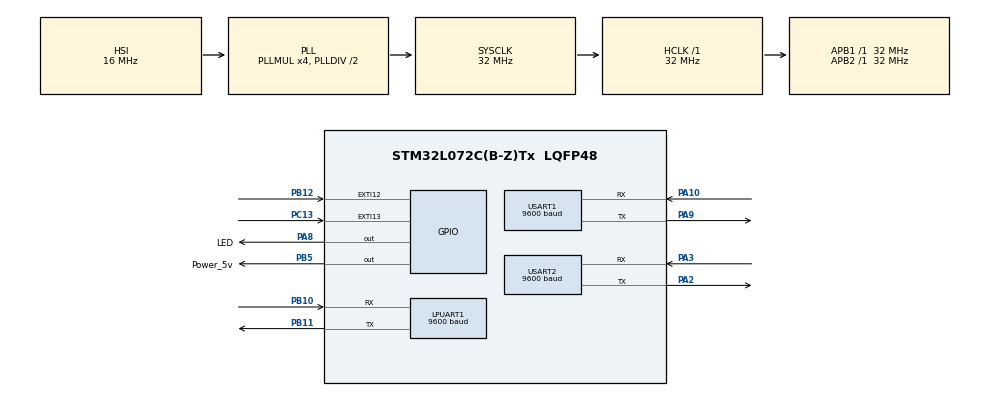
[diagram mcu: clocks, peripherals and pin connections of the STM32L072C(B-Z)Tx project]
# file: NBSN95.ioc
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ADC.ClockPrescaler=ADC_CLOCK_SYNC_PCLK_DIV4
Dma.LPUART1_TX.0.Direction=DMA_MEMORY_TO_PERIPH
Dma.LPUART1_TX.0.Instance=DMA1_Channel2
Dma.LPUART1_TX.0.MemDataAlignment=DMA_MDATAALIGN_BYTE
Dma.LPUART1_TX.0.MemInc=DMA_MINC_ENABLE
Dma.LPUART1_TX.0.Mode=DMA_NORMAL
Dma.LPUART1_TX.0.PeriphDataAlignment=DMA_PDATAALIGN_BYTE
Dma.LPUART1_TX.0.PeriphInc=DMA_PINC_DISABLE
Dma.LPUART1_TX.0.Priority=DMA_PRIORITY_VERY_HIGH
Dma.Request0=LPUART1_TX
IWDG.Prescaler=IWDG_PRESCALER_256
LPUART1.BaudRate=9600
LPUART1.DMADisableonRxErrorParam=UART_ADVFEATURE_DMA_DISABLEONRXERROR
LPUART1.OverrunDisableParam=UART_ADVFEATURE_OVERRUN_DISABLE
LPUART1.WordLength=UART_WORDLENGTH_8B
Mcu.Family=STM32L0
Mcu.Name=STM32L072C(B-Z)Tx
Mcu.Package=LQFP48
NVIC.DMA1_Channel2_3_IRQn=true\:0\:0\:false\:false\:true\:false\:true
NVIC.EXTI4_15_IRQn=true\:2\:0\:true\:false\:true\:true\:true
NVIC.RNG_LPUART1_IRQn=true\:1\:0\:true\:false\:true\:true\:true
NVIC.RTC_IRQn=true\:0\:0\:false\:false\:true\:true\:true
NVIC.USART1_IRQn=true\:1\:0\:true\:false\:true\:true\:true
NVIC.USART2_IRQn=true\:1\:0\:true\:false\:true\:true\:true
PA10.Mode=Asynchronous
PA10.Signal=USART1_RX
PA13.Mode=Serial_Wire
PA13.Signal=SYS_SWDIO
PA14.Mode=Serial_Wire
PA14.Signal=SYS_SWCLK
PA2.Mode=Asynchronous
PA2.Signal=USART2_TX
PA3.Mode=Asynchronous
PA3.Signal=USART2_RX
PA8.GPIO_Label=LED
PA8.GPIO_Speed=GPIO_SPEED_FREQ_VERY_HIGH
PA8.Signal=GPIO_Output
PA9.Mode=Asynchronous
PA9.Signal=USART1_TX
PB10.GPIO_PuPd=GPIO_PULLUP
PB10.Mode=Asynchronous
PB10.Signal=LPUART1_RX
PB11.GPIO_PuPd=GPIO_PULLUP
PB11.Mode=Asynchronous
PB11.Signal=LPUART1_TX
PB12.Signal=GPXTI12
PB5.GPIO_Label=Power_5v
PB5.GPIO_Speed=GPIO_SPEED_FREQ_VERY_HIGH
PB5.PinState=GPIO_PIN_RESET
PB5.Signal=GPIO_Output
PC13.GPIO_ModeDefaultEXTI=GPIO_MODE_IT_FALLING
PC13.Signal=GPXTI13
PC14-OSC32_IN.Mode=LSE-External-Oscillator
PC14-OSC32_IN.Signal=RCC_OSC32_IN
PC15-OSC32_OUT.Mode=LSE-External-Oscillator
PC15-OSC32_OUT.Signal=RCC_OSC32_OUT
ProjectManager.HeapSize=0x200
ProjectManager.StackSize=0x400
ProjectManager.TargetToolchain=MDK-ARM V5.32
RCC.AHBFreq_Value=32000000
RCC.APB1Freq_Value=32000000
RCC.APB1TimFreq_Value=32000000
RCC.APB2Freq_Value=32000000
RCC.APB2TimFreq_Value=32000000
RCC.HCLKFreq_Value=32000000
RCC.HSE_VALUE=8000000
RCC.HSI16_VALUE=16000000
RCC.HSI48_VALUE=48000000
RCC.HSI_VALUE=16000000
RCC.LptimClockSelection=RCC_LPTIM1CLKSOURCE_HSI
RCC.Lpuart1ClockSelection=RCC_LPUART1CLKSOURCE_HSI
RCC.MSI_VALUE=2097000
RCC.PLLMUL=RCC_PLLMUL_4
RCC.RTCClockSelection=RCC_RTCCLKSOURCE_LSE
RCC.RTCClockSelectionVirtual=RCC_RTCCLKSOURCE_LSE
RCC.SYSCLKFreq_VALUE=32000000
RCC.SYSCLKSource=RCC_SYSCLKSOURCE_PLLCLK
RCC.Usart1ClockSelection=RCC_USART1CLKSOURCE_HSI
RCC.Usart2ClockSelection=RCC_USART2CLKSOURCE_HSI
RCC.VCOOutputFreq_Value=64000000
RTC.Alarm-Alarm\ A=RTC_ALARM_A
RTC.Alarm_B-Alarm\ B=RTC_ALARM_B
RTC.Seconds_A-Alarm\ A=3
RTC.Seconds_B-Alarm\ B=5
USART1.BaudRate=9600
USART1.VirtualMode-Asynchronous=VM_ASYNC
USART2.BaudRate=9600
USART2.Mode=MODE_TX_RX
USART2.VirtualMode-Asynchronous=VM_ASYNC
VP_ADC_Vref_Input.Mode=IN-Vrefint
VP_IWDG_VS_IWDG.Mode=IWDG_Activate
VP_RTC_VS_RTC_Activate.Mode=RTC_Enabled
VP_RTC_VS_RTC_Alarm_A_Intern.Mode=Alarm A
VP_RTC_VS_RTC_Alarm_B_Intern.Mode=Alarm B
VP_RTC_VS_RTC_Calendar.Mode=RTC_Calendar
board=custom

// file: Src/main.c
/* USER CODE BEGIN Header */
/**
  ******************************************************************************
  * @file           : main.c
  * @brief          : Main program body
  ******************************************************************************
  * @attention
  *
  * <h2><center>&copy; Copyright (c) 2020 STMicroelectronics.
  * All rights reserved.</center></h2>
  *
  * This software component is licensed by ST under BSD 3-Clause license,
  * the "License"; You may not use this file except in compliance with the
  * License. You may obtain a copy of the License at:
  *                        opensource.org/licenses/BSD-3-Clause
  *
  ******************************************************************************
  */
/* USER CODE END Header */
#include "main.h"
#include "adc.h"
#include "dma.h"
#include "iwdg.h"
#include "usart.h"
#include "rtc.h"
#include "gpio.h"

/* USER CODE BEGIN Includes */
#include "at.h"
#include "lowpower.h"
#include "nbInit.h"
/* USER CODE END Includes */

/* USER CODE BEGIN PTD */

/* debug macro definition ----------------------------------------------------*/
//#define ST_DEBUG

/* NBIOT task macro definition, the task in NBTASK will not be executed after commenting out -*/
#define NBIOT

#ifndef ST_DEBUG
	#define lowpower_enter
#endif
/* USER CODE END PTD */

/* USER CODE BEGIN PV */
static uint8_t  rxbuf = 0;
static uint16_t rxlen = 0;
static uint8_t  rxDATA[300]={0};
static uint8_t  uart2_recieve_flag = 0;

static uint8_t rxbuf_lp = 0;
static uint8_t lpuart_recieve_flag = 0;

uint8_t rxbuf_u1 = 0; 	//usart1
uint8_t rxDATA_u1[100]={0};
uint8_t rxlen_u1 = 0;

static uint8_t pwd_time_count = 0;			//Password time count times

static uint8_t task_num = _AT_IDLE;			//NB task directory

static uint8_t error_num = 0;				    //Error count

/* USER CODE END PV */

void SystemClock_Config(void);
/* USER CODE BEGIN PFP */
static void USERTASK(void);
/* USER CODE END PFP */

int main(void)
{

  /* MCU Configuration--------------------------------------------------------*/

  /* Reset of all peripherals, Initializes the Flash interface and the Systick. */
  HAL_Init();

  /* Configure the system clock */
  SystemClock_Config();

  /* Initialize all configured peripherals */
  MX_GPIO_Init();
	MX_DMA_Init();
  MX_USART2_UART_Init();
  MX_LPUART1_UART_Init();
  MX_IWDG_Init();
  MX_RTC_Init();
  MX_ADC_Init();
  MX_USART1_UART_Init();
  /* USER CODE BEGIN 2 */
	new_firmware_update();
	config_Get();
	reboot_information_print();
	product_information_print();
	sensor_connect_detection();
	led_on(1000);
	HAL_Delay(3000);
	HAL_UART_Receive_IT(&huart2,(uint8_t*)&rxbuf,RXSIZE);
	HAL_UART_Receive_IT(&hlpuart1,(uint8_t*)&rxbuf_lp,RXSIZE);
	My_UARTEx_StopModeWakeUp(&huart2);				//Enable serial port wake up
	My_UARTEx_StopModeWakeUp(&hlpuart1);			//Enable serial port wake up
  /* USER CODE END 2 */

  /* Infinite loop */
  /* USER CODE BEGIN WHILE */
#ifdef NBIOT
	if((*(__IO uint8_t *)EEPROM_USER_START_FDR_FLAG) == 0x01)
	{
		task_num = _AT_IDLE;
		HAL_FLASHEx_DATAEEPROM_Unlock();
		HAL_FLASHEx_DATAEEPROM_Program(FLASH_TYPEPROGRAMDATA_WORD,EEPROM_USER_START_FDR_FLAG,0x00);
		HAL_FLASHEx_DATAEEPROM_Lock();
	}
	else
		task_num = _AT_FLAG_INIT;
#else
	task_num = _AT_IDLE;
#endif
  while (1)
  {
    /* USER CODE END WHILE */

    /* USER CODE BEGIN 3 */

#ifdef NBIOT

		if(task_num != _AT_IDLE)
		{
			HAL_Delay(1000);

			if(NBTASK(&task_num) == _AT_ERROR)
			{
				error_num++;
			}
	  }
		if((error_num > 3 && nb.uplink_flag == no_status)||(error_num > 10))
		{
			user_main_printf("Restart the module...");
			task_num = _AT_NRB;
			error_num = 0;
		}

		if(nb.recieve_flag == NB_RECIEVE && nb.uplink_flag == send)
		{
			task_num = _AT_URI;
			nb.recieve_flag = NB_IDIE;
		}
#endif

		USERTASK();

#ifdef lowpower_enter
		if(task_num == _AT_IDLE && uart2_recieve_flag==0)
		{
			LPM_EnterStopMode(SystemClock_Config);
		}
#endif
  }
  /* USER CODE END 3 */
}

void SystemClock_Config(void)
{
  RCC_OscInitTypeDef RCC_OscInitStruct = {0};
  RCC_ClkInitTypeDef RCC_ClkInitStruct = {0};
  RCC_PeriphCLKInitTypeDef PeriphClkInit = {0};

  /** Configure the main internal regulator output voltage
  */
  __HAL_PWR_VOLTAGESCALING_CONFIG(PWR_REGULATOR_VOLTAGE_SCALE1);
  /** Configure LSE Drive Capability
  */
  HAL_PWR_EnableBkUpAccess();
  __HAL_RCC_LSEDRIVE_CONFIG(RCC_LSEDRIVE_LOW);
  /** Initializes the RCC Oscillators according to the specified parameters
  * in the RCC_OscInitTypeDef structure.
  */
  RCC_OscInitStruct.OscillatorType = RCC_OSCILLATORTYPE_HSI|RCC_OSCILLATORTYPE_LSI
                              |RCC_OSCILLATORTYPE_LSE;
  RCC_OscInitStruct.LSEState = RCC_LSE_ON;
  RCC_OscInitStruct.HSIState = RCC_HSI_ON;
  RCC_OscInitStruct.HSICalibrationValue = RCC_HSICALIBRATION_DEFAULT;
  RCC_OscInitStruct.LSIState = RCC_LSI_ON;
  RCC_OscInitStruct.PLL.PLLState = RCC_PLL_ON;
  RCC_OscInitStruct.PLL.PLLSource = RCC_PLLSOURCE_HSI;
  RCC_OscInitStruct.PLL.PLLMUL = RCC_PLLMUL_4;
  RCC_OscInitStruct.PLL.PLLDIV = RCC_PLLDIV_2;
  if (HAL_RCC_OscConfig(&RCC_OscInitStruct) != HAL_OK)
  {
    Error_Handler();
  }
  /** Initializes the CPU, AHB and APB buses clocks
  */
  RCC_ClkInitStruct.ClockType = RCC_CLOCKTYPE_HCLK|RCC_CLOCKTYPE_SYSCLK
                              |RCC_CLOCKTYPE_PCLK1|RCC_CLOCKTYPE_PCLK2;
  RCC_ClkInitStruct.SYSCLKSource = RCC_SYSCLKSOURCE_PLLCLK;
  RCC_ClkInitStruct.AHBCLKDivider = RCC_SYSCLK_DIV1;
  RCC_ClkInitStruct.APB1CLKDivider = RCC_HCLK_DIV1;
  RCC_ClkInitStruct.APB2CLKDivider = RCC_HCLK_DIV1;

  if (HAL_RCC_ClockConfig(&RCC_ClkInitStruct, FLASH_LATENCY_1) != HAL_OK)
  {
    Error_Handler();
  }
  PeriphClkInit.PeriphClockSelection = RCC_PERIPHCLK_USART1|RCC_PERIPHCLK_USART2
                              |RCC_PERIPHCLK_LPUART1|RCC_PERIPHCLK_RTC;
  PeriphClkInit.Usart1ClockSelection = RCC_USART1CLKSOURCE_HSI;
  PeriphClkInit.Usart2ClockSelection = RCC_USART2CLKSOURCE_HSI;
  PeriphClkInit.Lpuart1ClockSelection = RCC_LPUART1CLKSOURCE_HSI;
  PeriphClkInit.RTCClockSelection = RCC_RTCCLKSOURCE_LSE;
  if (HAL_RCCEx_PeriphCLKConfig(&PeriphClkInit) != HAL_OK)
  {
    Error_Handler();
  }
}

/* USER CODE BEGIN 4 */
static void USERTASK(void)
{
	if(sys.pwd_flag == 0 && uart2_recieve_flag)
	{
		rtrim((char*)rxDATA);
		if(strcmp((char*)rxDATA,(char*)sys.pwd) == 0 && strlen((char*)rxDATA) < 9)
		{
			user_main_printf("Password Correct");
			sys.pwd_flag = 1;
		}
		else
		{
			user_main_printf("Password Incorrect");
		}
	}
	else if(sys.pwd_flag != 0 && uart2_recieve_flag)
	{
		ATEerror_t AT_State = ATInsPro((char*)rxDATA);
		if(AT_State == AT_OK)
			printf("%s\r\n",ATError_description[AT_OK]);
		else if(AT_State == AT_PARAM_ERROR)
			printf("%s",ATError_description[AT_PARAM_ERROR]);
		else if(AT_State == AT_BUSY_ERROR)
			printf("%s",ATError_description[AT_BUSY_ERROR]);
		else if(AT_State == AT_TEST_PARAM_OVERFLOW)
			printf("%s",ATError_description[AT_TEST_PARAM_OVERFLOW]);
		else if(AT_State == AT_RX_ERROR)
			printf("%s",ATError_description[AT_RX_ERROR]);
		else if(AT_State == AT_ERROR)
		{
			nb.usart.len = 0;
			memset(nb.usart.data,0,NB_RX_SIZE);
			rxDATA[strlen((char*)rxDATA)] = '\n';
			HAL_UART_Transmit_DMA(&hlpuart1,(uint8_t*)rxDATA,strlen((char*)rxDATA));
			HAL_Delay(500);					//Waiting to Send
		}
	}

	if(uart2_recieve_flag == 1)
	{
		rxlen = 0;
		uart2_recieve_flag = 0;
		memset(rxDATA,0,sizeof(rxDATA));
	}
	if(lpuart_recieve_flag == 1)
	{
		printf("%s",nb.usart.data);
		nb.usart.len = 0;
		lpuart_recieve_flag = 0;
		memset(nb.usart.data,0,NB_RX_SIZE);
	}
}

void HAL_UART_RxCpltCallback(UART_HandleTypeDef *huart)
{
	if(huart == &hlpuart1)
	{
		nb.usart.data[nb.usart.len++] = rxbuf_lp;
		if(task_num == _AT_IDLE)
		{
			if(rxbuf_lp == '\n')
			{
				lpuart_recieve_flag = 1;
			}
		}
		HAL_UART_Receive_IT(&hlpuart1,(uint8_t*)&rxbuf_lp,RXSIZE);
	}
	else if(huart == &huart2)
	{
		rxDATA[rxlen++] = rxbuf;
		if(rxbuf == '\r' || rxbuf == '\n')
		{
			uart2_recieve_flag = 1;
		}
		HAL_UART_Receive_IT(&huart2,(uint8_t*)&rxbuf,RXSIZE);
	}
	else if(huart == &huart1)
	{
		if(rxlen_u1 < 40)
			rxDATA_u1[rxlen_u1++] = rxbuf_u1;
		HAL_UART_Receive_IT(&huart1,(uint8_t*)&rxbuf_u1,RXSIZE);
	}
}

void HAL_RTC_AlarmAEventCallback(RTC_HandleTypeDef *hrtc)
{
	if(nb.net_flag == no_status)
		task_num = _AT_FLAG_INIT;
	else if(nb.net_flag == success)
		task_num = _AT_CSQ;

	LPM_DisableStopMode();
}

void HAL_RTCEx_AlarmBEventCallback(RTC_HandleTypeDef *hrtc)
{
	HAL_IWDG_Refresh(&hiwdg);

#ifdef NBIOT
	if(sys.pwd_flag==1)
	{
		pwd_time_count++;
		if(pwd_time_count == 17)
		{
			sys.pwd_flag = 0;
			pwd_time_count = 0;
			HAL_UART_Transmit(&huart2,(uint8_t*)"Password timeout\r\n",20,20);
		}
	}
#endif

	if(nb.net_flag == fail)
		task_num = _AT_CSQ;

	My_AlarmInit(18,1);
}

void HAL_GPIO_EXTI_Callback(uint16_t GPIO_Pin)
{
	if(GPIO_Pin == GPIO_PIN_12)
	{
		if(nb.net_flag == success && (task_num < _AT_COAP_CONFIG || task_num > _AT_TCP_CLOSE))
		{
			task_num = _AT_CSQ;
			sys.exit_flag = 1;
			sensor.exit_flag = 1;
			LPM_DisableStopMode();
		}
	}
//	else if(GPIO_Pin == GPIO_PIN_13 && nb.uplink_flag == send && sys.protocol != COAP_PRO)
	else if(GPIO_Pin == GPIO_PIN_13 && nb.uplink_flag == send )
	{
		nb.recieve_flag = NB_RECIEVE;
	}
}

void HAL_UART_ErrorCallback(UART_HandleTypeDef *huart)
{
//	if(huart == (&hlpuart1))
//	{
//		user_main_error("hlpuart1 ERROR");
//		uint32_t isrflags = READ_REG(huart->Instance->ISR);
//		switch(huart->ErrorCode)
//    {
//				case HAL_UART_ERROR_NONE:
//						user_main_error("HAL_UART_ERROR_NONE\r\n");
//						break;
//				case HAL_UART_ERROR_PE:
//						user_main_error("HAL_UART_ERROR_PE\r\n");
//						READ_REG(huart->Instance->RDR);//PE清标志，第二步读DR
//						READ_REG(huart->Instance->TDR);
//						__HAL_UART_CLEAR_FLAG(huart, UART_FLAG_PE);//清标志
//						break;
//				case HAL_UART_ERROR_NE:
//						user_main_error("HAL_UART_ERROR_NE\r\n");
//						READ_REG(huart->Instance->RDR);//NE清标志，第二步读DR
//						READ_REG(huart->Instance->TDR);
//						__HAL_UART_CLEAR_FLAG(huart, UART_FLAG_NE);//清标志
//						break;
//				case HAL_UART_ERROR_FE:
//						user_main_error("HAL_UART_ERROR_FE\r\n");
//						READ_REG(huart->Instance->RDR);//FE清标志，第二步读DR
//						READ_REG(huart->Instance->TDR);
//						__HAL_UART_CLEAR_FLAG(huart, UART_FLAG_FE);//清标志
//						break;
//				case HAL_UART_ERROR_ORE:
//						user_main_error("HAL_UART_ERROR_ORE\r\n");
//						READ_REG(huart->Instance->RDR);//ORE清标志，第二步读DR
//						READ_REG(huart->Instance->TDR);
//						__HAL_UART_CLEAR_FLAG(huart, UART_FLAG_ORE);//清标志
//						break;
//				case HAL_UART_ERROR_DMA:
//						user_main_error("HAL_UART_ERROR_DMA\r\n");
//						break;
//				default:
//						user_main_error("other\r\n");
//						break;
//    }
//		MX_LPUART1_UART_Init();
//		HAL_UART_Receive_IT(&hlpuart1,(uint8_t*)&rxbuf_lp,RXSIZE);
//	}
//	else	if(huart == (&huart2))
//	{
//		user_main_error("huart2 ERROR");
//		uint32_t isrflags = READ_REG(huart->Instance->ISR);
//		switch(huart->ErrorCode)
//    {
//				case HAL_UART_ERROR_NONE:
//						user_main_error("HAL_UART_ERROR_NONE\r\n");
//						break;
//				case HAL_UART_ERROR_PE:
//						user_main_error("HAL_UART_ERROR_PE\r\n");
//						READ_REG(huart->Instance->RDR);//PE清标志，第二步读DR
//						READ_REG(huart->Instance->TDR);
//						__HAL_UART_CLEAR_FLAG(huart, UART_FLAG_PE);//清标志
//						break;
//				case HAL_UART_ERROR_NE:
//						user_main_error("HAL_UART_ERROR_NE\r\n");
//						READ_REG(huart->Instance->RDR);//NE清标志，第二步读DR
//						READ_REG(huart->Instance->TDR);
//						__HAL_UART_CLEAR_FLAG(huart, UART_FLAG_NE);//清标志
//						break;
//				case HAL_UART_ERROR_FE:
//						user_main_error("HAL_UART_ERROR_FE\r\n");
//						READ_REG(huart->Instance->RDR);//FE清标志，第二步读DR
//						READ_REG(huart->Instance->TDR);
//						__HAL_UART_CLEAR_FLAG(huart, UART_FLAG_FE);//清标志
//						break;
//				case HAL_UART_ERROR_ORE:
//						user_main_error("HAL_UART_ERROR_ORE\r\n");
//						READ_REG(huart->Instance->RDR);//ORE清标志，第二步读DR
//						READ_REG(huart->Instance->TDR);
//						__HAL_UART_CLEAR_FLAG(huart, UART_FLAG_ORE);//清标志
//						break;
//				case HAL_UART_ERROR_DMA:
//						user_main_error("HAL_UART_ERROR_DMA\r\n");
//						break;
//				default:
//						user_main_error("other\r\n");
//						break;
//    }
//		MX_USART2_UART_Init();
//		HAL_UART_Receive_IT(&huart2,(uint8_t*)&rxbuf,RXSIZE);
//	}
}
/* USER CODE END 4 */

void Error_Handler(void)
{
}

/************************ (C) COPYRIGHT STMicroelectronics *****END OF FILE****/
